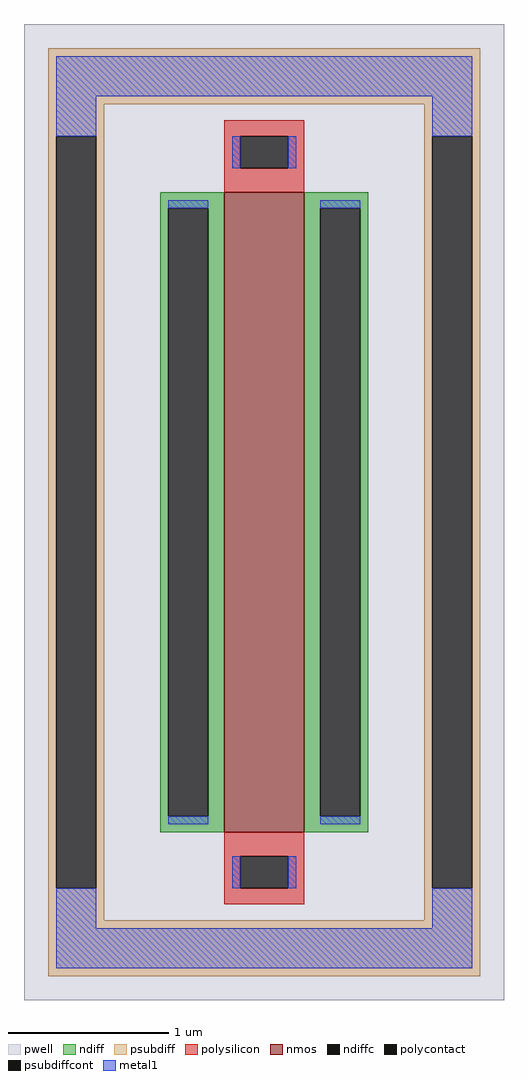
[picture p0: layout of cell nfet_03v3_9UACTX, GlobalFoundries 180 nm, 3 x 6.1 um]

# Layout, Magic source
magic
tech gf180mcuD
<< pwell >>
rect -30 -61 30 61
<< nmos >>
rect -5 -40 5 40
<< ndiff >>
rect -13 38 -5 40
rect -13 -38 -12 38
rect -7 -38 -5 38
rect -13 -40 -5 -38
rect 5 38 13 40
rect 5 -38 7 38
rect 12 -38 13 38
rect 5 -40 13 -38
<< ndiffc >>
rect -12 -38 -7 38
rect 7 -38 12 38
<< psubdiff >>
rect -27 51 27 58
rect -27 47 -20 51
rect -27 -47 -26 47
rect -21 -47 -20 47
rect 20 47 27 51
rect -27 -51 -20 -47
rect 20 -47 21 47
rect 26 -47 27 47
rect 20 -51 27 -47
rect -27 -58 27 -51
<< psubdiffcont >>
rect -26 -47 -21 47
rect 21 -47 26 47
<< polysilicon >>
rect -5 47 5 49
rect -5 43 -3 47
rect 3 43 5 47
rect -5 40 5 43
rect -5 -43 5 -40
rect -5 -47 -3 -43
rect 3 -47 5 -43
rect -5 -49 5 -47
<< polycontact >>
rect -3 43 3 47
rect -3 -47 3 -43
<< metal1 >>
rect -26 52 26 57
rect -26 47 -21 52
rect -4 43 -3 47
rect 3 43 4 47
rect 21 47 26 52
rect -12 38 -7 39
rect -12 -39 -7 -38
rect 7 38 12 39
rect 7 -39 12 -38
rect -26 -52 -21 -47
rect -4 -47 -3 -43
rect 3 -47 4 -43
rect 21 -52 26 -47
rect -26 -57 26 -52
<< properties >>
string FIXED_BBOX -24 -55 24 55
string gencell nfet_03v3
string library gf180mcu
string parameters w 4.0 l 0.5 m 1 nf 1 diffcov 100 polycov 100 guard 1 glc 1 grc 1 gtc 0 gbc 0 tbcov 100 rlcov 100 topc 1 botc 1 poverlap 0 doverlap 1 lmin 0.28 wmin 0.22 class mosfet full_metal 1 compatible {nfet_03v3 nfet_05v0 nfet_06v0 nfet_06v0_nvt} ad int((nf+1)/2)*W/nf*0.18u as int((nf+2)/2)*W/nf*0.18u pd 2*int((nf+1)/2)*(W/nf+0.18u) ps 2*int((nf+2)/2)*(W/nf+0.18u) nrd 0.18u/W nrs 0.18u/W sa 0 sb 0 sd 0
<< end >>
